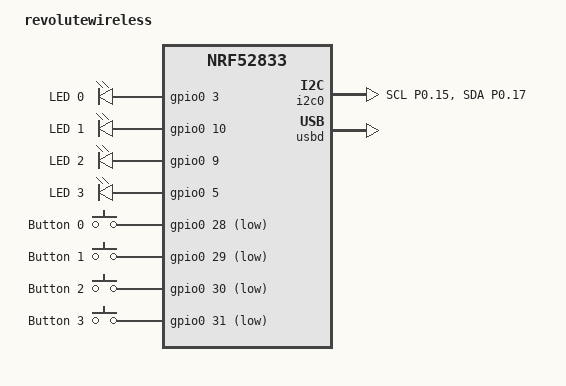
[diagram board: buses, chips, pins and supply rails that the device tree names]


/dts-v1/;
#include <nordic/nrf52833_qiaa.dtsi>


/ {
	model = "revolutewireless";
	compatible = "revolutewireless";

	chosen {

		zephyr,console = &uart0;
		zephyr,shell-uart = &uart0;
		zephyr,uart-mcumgr = &uart0;
		zephyr,sram = &sram0;
		zephyr,flash = &flash0;
		zephyr,code-partition = &slot0_partition;
		// zephyr,settings-partition = &storage_partition;

	};


	
	leds {
			compatible = "gpio-leds";
			blueled: led_0 {
					/* LED 0 on P0.03, LED on when pin is high */
					gpios = < &gpio0 3 GPIO_ACTIVE_HIGH >;
					label = "LED 0";
			};
			nc_1: led_1 {
					/* LED 1 on P0.14, LED on when pin is low */
					gpios = < &gpio0 10 GPIO_ACTIVE_HIGH >;
					label = "LED 1";
			};
			nc_2: led_2 {
					/* LED 2 on P1.0, on when low */
					gpios = < &gpio0 9 GPIO_ACTIVE_HIGH >;
					label = "LED 2";
			};
			nc_3: led_3 {
					/* LED 3 on P1.1, on when high */
					gpios = < &gpio0 5 GPIO_ACTIVE_HIGH >;
					label = "LED 3";
			};
	};




 


	buttons {
			compatible = "gpio-keys";
			/*
				* Add up to 4 total buttons in child nodes as shown here.
				*/
			button_right: button_0 {
					/* Button 0 on P0.11. Enable internal SoC pull-up
						* resistor and treat low level as pressed button. */
					gpios = <&gpio0 28 (GPIO_PULL_UP | GPIO_ACTIVE_LOW)>;
					label = "Button 0";
			};
			button_left: button_1 {
					/* Button 1 on P0.12. Enable internal pull-down resistor.
						* Treat high level as pressed button. */
					gpios = <&gpio0 29 (GPIO_PULL_UP | GPIO_ACTIVE_LOW)>;
					label = "Button 1";
			};
			button_up: button_2 {
					/* Button 2 on P1.12, enable internal pull-up,
						* low level is pressed. */
					gpios = <&gpio0 30 (GPIO_PULL_UP | GPIO_ACTIVE_LOW)>;
					label = "Button 2";
			};
			button_down: button_3 {
					/* Button 3 on P1.15, no internal pull resistor,
						* low is pressed. */
					gpios = <&gpio0 31 (GPIO_PULL_UP | GPIO_ACTIVE_LOW)>;
					label = "Button 3";
			};
	};


	

	/* These aliases are provided for compatibility with samples */
	aliases {

		led0 = &blueled;
		sw0 = &button_right;
		sw1 = &button_left;
		sw2 = &button_up;
		sw3 = &button_down;

		// led0 = &led0_red;
		// led0-red   = &led0_red;	
		// sw0 =  &button1;


	};
};

&gpiote {
	status = "okay";
};

&gpio0 {
	status = "okay";
};

&gpio1 {
	status = "okay";
};


&flash0 {
	partitions {
		compatible = "fixed-partitions";
		#address-cells = <1>;
		#size-cells = <1>;

		boot_partition: partition@0 {
			label = "mcuboot";
			reg = <0x00000000 0xC000>;
		};
		slot0_partition: partition@c000 {
			label = "image-0";
			reg = <0x0000C000 0x37000>;
		};
		slot1_partition: partition@43000 {
			label = "image-1";
			reg = <0x00043000 0x37000>;
		};
		storage_partition: partition@7a000 {
			label = "storage";
			reg = <0x0007A000 0x00006000>;
		};
	};
};




&i2c0 {

	status = "okay";
	pinctrl-0 = <&i2c0_default>;
	pinctrl-names = "default";
	
	// as5600: as5600@36 {
	// 	compatible = "ams,as5600";
		
	// 	reg = <0x36>;
	// 	status = "okay";
	// };

	// bq27421@55 {
	// 	compatible = "ti,bq274xx";
	// 	reg = <0x55>;
	// 	design-voltage = <3700>;
	// 	design-capacity = <40>;
	// 	taper-current = <45>;
	// 	terminate-voltage = <3000>;
	// };

};


&pinctrl {
	i2c0_default: i2c0_default {
		group1 {
			psels = <NRF_PSEL(TWIM_SCL, 0,15)>, <NRF_PSEL(TWIM_SDA, 0, 17)>;
		};
	};
};


// #include "fstab-stock.dts"

zephyr_udc0: &usbd {
	compatible = "nordic,nrf-usbd";
	status = "okay";
};
